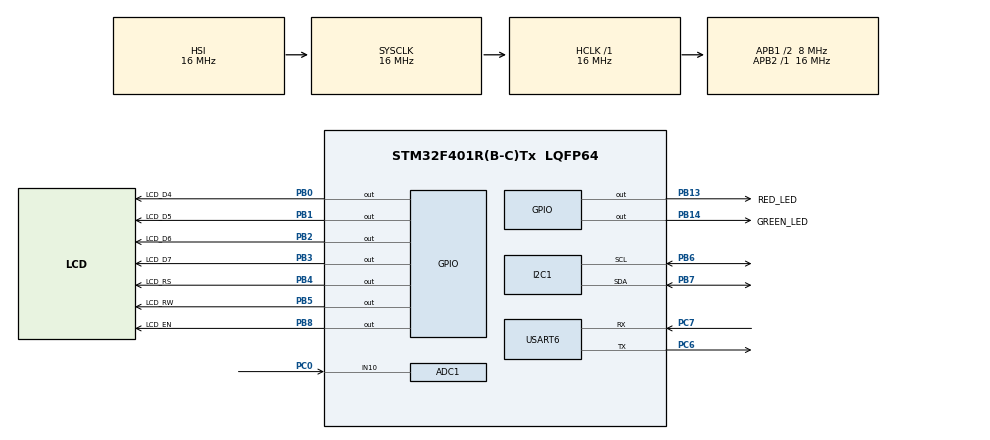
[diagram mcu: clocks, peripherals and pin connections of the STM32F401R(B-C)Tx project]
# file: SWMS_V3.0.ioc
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ADC1.Channel-0\#ChannelRegularConversion=ADC_CHANNEL_10
ADC1.InjNumberOfConversion=0
ADC1.NbrOfConversionFlag=1
ADC1.Rank-0\#ChannelRegularConversion=1
ADC1.SamplingTime-0\#ChannelRegularConversion=ADC_SAMPLETIME_480CYCLES
ADC1.master=1
FREERTOS.BinarySemaphores01=myBinarySem01,Dynamic,NULL,Depleted;myBinarySem02,Dynamic,NULL,Depleted
FREERTOS.Tasks01=task1,0,128,dispDT,Default,NULL,Dynamic,NULL,NULL;task2,0,128,readTemp,Default,NULL,Dynamic,NULL,NULL;task4,0,128,upTemp,Default,NULL,Dynamic,NULL,NULL;task3,0,128,checkIntStatus,Default,NULL,Dynamic,NULL,NULL
FREERTOS.configTICK_RATE_HZ=100
FREERTOS.configUSE_TRACE_FACILITY=1
Mcu.Family=STM32F4
Mcu.Name=STM32F401R(B-C)Tx
Mcu.Package=LQFP64
NVIC.PriorityGroup=NVIC_PRIORITYGROUP_4
NVIC.TIM2_IRQn=true\:15\:0\:false\:false\:true\:false\:false\:true\:true
NVIC.TimeBase=TIM2_IRQn
NVIC.TimeBaseIP=TIM2
PA13.Mode=Serial_Wire
PA13.Signal=SYS_JTMS-SWDIO
PA14.Mode=Serial_Wire
PA14.Signal=SYS_JTCK-SWCLK
PB0.GPIO_Label=LCD_D4
PB0.Signal=GPIO_Output
PB1.GPIO_Label=LCD_D5
PB1.Signal=GPIO_Output
PB13.GPIO_Label=RED_LED
PB13.PinState=GPIO_PIN_SET
PB13.Signal=GPIO_Output
PB14.GPIO_Label=GREEN_LED
PB14.PinState=GPIO_PIN_SET
PB14.Signal=GPIO_Output
PB2.GPIO_Label=LCD_D6
PB2.Signal=GPIO_Output
PB3.GPIO_Label=LCD_D7
PB3.Signal=GPIO_Output
PB4.GPIO_Label=LCD_RS
PB4.Signal=GPIO_Output
PB5.GPIO_Label=LCD_RW
PB5.Signal=GPIO_Output
PB6.Mode=I2C
PB6.Signal=I2C1_SCL
PB7.Mode=I2C
PB7.Signal=I2C1_SDA
PB8.GPIO_Label=LCD_EN
PB8.Signal=GPIO_Output
PC0.Signal=ADCx_IN10
PC14-OSC32_IN.Mode=LSE-External-Oscillator
PC14-OSC32_IN.Signal=RCC_OSC32_IN
PC15-OSC32_OUT.Mode=LSE-External-Oscillator
PC15-OSC32_OUT.Signal=RCC_OSC32_OUT
PC6.Mode=Asynchronous
PC6.Signal=USART6_TX
PC7.Mode=Asynchronous
PC7.Signal=USART6_RX
PH0\ -\ OSC_IN.Mode=HSE-External-Oscillator
PH0\ -\ OSC_IN.Signal=RCC_OSC_IN
PH1\ -\ OSC_OUT.Mode=HSE-External-Oscillator
PH1\ -\ OSC_OUT.Signal=RCC_OSC_OUT
ProjectManager.HeapSize=0x200
ProjectManager.StackSize=0x400
ProjectManager.TargetToolchain=STM32CubeIDE
RCC.48MHZClocksFreq_Value=48000000
RCC.AHBFreq_Value=16000000
RCC.APB1CLKDivider=RCC_HCLK_DIV2
RCC.APB1Freq_Value=8000000
RCC.APB1TimFreq_Value=16000000
RCC.APB2Freq_Value=16000000
RCC.APB2TimFreq_Value=16000000
RCC.CortexFreq_Value=16000000
RCC.HCLKFreq_Value=16000000
RCC.HSE_VALUE=25000000
RCC.HSI_VALUE=16000000
RCC.PLLM=8
RCC.PLLN=96
RCC.PLLP=RCC_PLLP_DIV4
RCC.SYSCLKFreq_VALUE=16000000
RCC.VCOOutputFreq_Value=192000000
SH.ADCx_IN10.0=ADC1_IN10,IN10
USART6.VirtualMode=VM_ASYNC
USART6.WordLength=WORDLENGTH_8B
VP_FREERTOS_VS_CMSIS_V1.Mode=CMSIS_V1
VP_RTC_VS_RTC_Activate.Mode=RTC_Enabled
VP_SYS_VS_tim2.Mode=TIM2
board=custom

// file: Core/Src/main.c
/* USER CODE BEGIN Header */
/**
  ******************************************************************************
  * @file           : main.c
  * @brief          : Main program body
  ******************************************************************************
  * @attention
  *
  * Copyright (c) 2024 STMicroelectronics.
  * All rights reserved.
  *
  * This software is licensed under terms that can be found in the LICENSE file
  * in the root directory of this software component.
  * If no LICENSE file comes with this software, it is provided AS-IS.
  *
  ******************************************************************************
  */
/* USER CODE END Header */
#include "main.h"
#include "cmsis_os.h"

ADC_HandleTypeDef hadc1;

I2C_HandleTypeDef hi2c1;

RTC_HandleTypeDef hrtc;

UART_HandleTypeDef huart6;

osThreadId task1Handle;
osThreadId task2Handle;
osThreadId task4Handle;
osThreadId task3Handle;
osSemaphoreId myBinarySem01Handle;
osSemaphoreId myBinarySem02Handle;
/* USER CODE BEGIN PV */
volatile uint32_t temp_value=0;
char dtValue[5];
char tempValue[2];
uint8_t convCpltFlag;
volatile int8_t wifi_status;
uint8_t Time_Date[7];
char EEPROM_WR_BUFF[20];
char EEPROM_RD_BUFF[20];
/* USER CODE END PV */

void SystemClock_Config(void);
static void MX_GPIO_Init(void);
static void MX_ADC1_Init(void);
static void MX_USART6_UART_Init(void);
static void MX_RTC_Init(void);
static void MX_I2C1_Init(void);
void dispDT(void const * argument);
void readTemp(void const * argument);
void upTemp(void const * argument);
void checkIntStatus(void const * argument);

int main(void)
{

  /* MCU Configuration--------------------------------------------------------*/

  /* Reset of all peripherals, Initializes the Flash interface and the Systick. */
  HAL_Init();

  /* Configure the system clock */
  SystemClock_Config();

  /* Initialize all configured peripherals */
  MX_GPIO_Init();
  MX_ADC1_Init();
  MX_USART6_UART_Init();
  MX_RTC_Init();
  MX_I2C1_Init();
  /* USER CODE BEGIN 2 */
  devInit();				//it contains all device initializations
  /* USER CODE END 2 */

  /* Create the semaphores(s) */
  /* definition and creation of myBinarySem01 */
  osSemaphoreDef(myBinarySem01);
  myBinarySem01Handle = osSemaphoreCreate(osSemaphore(myBinarySem01), 1);

  /* definition and creation of myBinarySem02 */
  osSemaphoreDef(myBinarySem02);
  myBinarySem02Handle = osSemaphoreCreate(osSemaphore(myBinarySem02), 1);

  /* Create the thread(s) */
  /* definition and creation of task1 */
  osThreadDef(task1, dispDT, osPriorityNormal, 0, 128);
  task1Handle = osThreadCreate(osThread(task1), NULL);

  /* definition and creation of task2 */
  osThreadDef(task2, readTemp, osPriorityNormal, 0, 128);
  task2Handle = osThreadCreate(osThread(task2), NULL);

  /* definition and creation of task4 */
  osThreadDef(task4, upTemp, osPriorityNormal, 0, 128);
  task4Handle = osThreadCreate(osThread(task4), NULL);

  /* definition and creation of task3 */
  osThreadDef(task3, checkIntStatus, osPriorityNormal, 0, 128);
  task3Handle = osThreadCreate(osThread(task3), NULL);

  /* Start scheduler */
  osKernelStart();

  /* We should never get here as control is now taken by the scheduler */

  /* Infinite loop */
  while (1)
  {

  }
}

void SystemClock_Config(void)
{
  RCC_OscInitTypeDef RCC_OscInitStruct = {0};
  RCC_ClkInitTypeDef RCC_ClkInitStruct = {0};

  /** Configure the main internal regulator output voltage
  */
  __HAL_RCC_PWR_CLK_ENABLE();
  __HAL_PWR_VOLTAGESCALING_CONFIG(PWR_REGULATOR_VOLTAGE_SCALE2);

  /** Initializes the RCC Oscillators according to the specified parameters
  * in the RCC_OscInitTypeDef structure.
  */
  RCC_OscInitStruct.OscillatorType = RCC_OSCILLATORTYPE_HSI|RCC_OSCILLATORTYPE_LSI;
  RCC_OscInitStruct.HSIState = RCC_HSI_ON;
  RCC_OscInitStruct.HSICalibrationValue = RCC_HSICALIBRATION_DEFAULT;
  RCC_OscInitStruct.LSIState = RCC_LSI_ON;
  RCC_OscInitStruct.PLL.PLLState = RCC_PLL_NONE;
  if (HAL_RCC_OscConfig(&RCC_OscInitStruct) != HAL_OK)
  {
    Error_Handler();
  }

  /** Initializes the CPU, AHB and APB buses clocks
  */
  RCC_ClkInitStruct.ClockType = RCC_CLOCKTYPE_HCLK|RCC_CLOCKTYPE_SYSCLK
                              |RCC_CLOCKTYPE_PCLK1|RCC_CLOCKTYPE_PCLK2;
  RCC_ClkInitStruct.SYSCLKSource = RCC_SYSCLKSOURCE_HSI;
  RCC_ClkInitStruct.AHBCLKDivider = RCC_SYSCLK_DIV1;
  RCC_ClkInitStruct.APB1CLKDivider = RCC_HCLK_DIV2;
  RCC_ClkInitStruct.APB2CLKDivider = RCC_HCLK_DIV1;

  if (HAL_RCC_ClockConfig(&RCC_ClkInitStruct, FLASH_LATENCY_0) != HAL_OK)
  {
    Error_Handler();
  }
}

static void MX_ADC1_Init(void)
{

  ADC_ChannelConfTypeDef sConfig = {0};

  /** Configure the global features of the ADC (Clock, Resolution, Data Alignment and number of conversion)
  */
  hadc1.Instance = ADC1;
  hadc1.Init.ClockPrescaler = ADC_CLOCK_SYNC_PCLK_DIV2;
  hadc1.Init.Resolution = ADC_RESOLUTION_12B;
  hadc1.Init.ScanConvMode = DISABLE;
  hadc1.Init.ContinuousConvMode = DISABLE;
  hadc1.Init.DiscontinuousConvMode = DISABLE;
  hadc1.Init.ExternalTrigConvEdge = ADC_EXTERNALTRIGCONVEDGE_NONE;
  hadc1.Init.ExternalTrigConv = ADC_SOFTWARE_START;
  hadc1.Init.DataAlign = ADC_DATAALIGN_RIGHT;
  hadc1.Init.NbrOfConversion = 1;
  hadc1.Init.DMAContinuousRequests = DISABLE;
  hadc1.Init.EOCSelection = ADC_EOC_SINGLE_CONV;
  if (HAL_ADC_Init(&hadc1) != HAL_OK)
  {
    Error_Handler();
  }

  /** Configure for the selected ADC regular channel its corresponding rank in the sequencer and its sample time.
  */
  sConfig.Channel = ADC_CHANNEL_10;
  sConfig.Rank = 1;
  sConfig.SamplingTime = ADC_SAMPLETIME_480CYCLES;
  if (HAL_ADC_ConfigChannel(&hadc1, &sConfig) != HAL_OK)
  {
    Error_Handler();
  }

}

static void MX_I2C1_Init(void)
{

  hi2c1.Instance = I2C1;
  hi2c1.Init.ClockSpeed = 100000;
  hi2c1.Init.DutyCycle = I2C_DUTYCYCLE_2;
  hi2c1.Init.OwnAddress1 = 0;
  hi2c1.Init.AddressingMode = I2C_ADDRESSINGMODE_7BIT;
  hi2c1.Init.DualAddressMode = I2C_DUALADDRESS_DISABLE;
  hi2c1.Init.OwnAddress2 = 0;
  hi2c1.Init.GeneralCallMode = I2C_GENERALCALL_DISABLE;
  hi2c1.Init.NoStretchMode = I2C_NOSTRETCH_DISABLE;
  if (HAL_I2C_Init(&hi2c1) != HAL_OK)
  {
    Error_Handler();
  }

}

static void MX_RTC_Init(void)
{

  /** Initialize RTC Only
  */
  hrtc.Instance = RTC;
  hrtc.Init.HourFormat = RTC_HOURFORMAT_24;
  hrtc.Init.AsynchPrediv = 127;
  hrtc.Init.SynchPrediv = 255;
  hrtc.Init.OutPut = RTC_OUTPUT_DISABLE;
  hrtc.Init.OutPutPolarity = RTC_OUTPUT_POLARITY_HIGH;
  hrtc.Init.OutPutType = RTC_OUTPUT_TYPE_OPENDRAIN;
  if (HAL_RTC_Init(&hrtc) != HAL_OK)
  {
    Error_Handler();
  }

}

static void MX_USART6_UART_Init(void)
{

  huart6.Instance = USART6;
  huart6.Init.BaudRate = 115200;
  huart6.Init.WordLength = UART_WORDLENGTH_8B;
  huart6.Init.StopBits = UART_STOPBITS_1;
  huart6.Init.Parity = UART_PARITY_NONE;
  huart6.Init.Mode = UART_MODE_TX_RX;
  huart6.Init.HwFlowCtl = UART_HWCONTROL_NONE;
  huart6.Init.OverSampling = UART_OVERSAMPLING_16;
  if (HAL_UART_Init(&huart6) != HAL_OK)
  {
    Error_Handler();
  }

}

static void MX_GPIO_Init(void)
{
  GPIO_InitTypeDef GPIO_InitStruct = {0};

  /* GPIO Ports Clock Enable */
  __HAL_RCC_GPIOC_CLK_ENABLE();
  __HAL_RCC_GPIOH_CLK_ENABLE();
  __HAL_RCC_GPIOB_CLK_ENABLE();
  __HAL_RCC_GPIOA_CLK_ENABLE();

  /*Configure GPIO pin Output Level */
  HAL_GPIO_WritePin(GPIOB, LCD_D4_Pin|LCD_D5_Pin|LCD_D6_Pin|LCD_D7_Pin
                          |LCD_RS_Pin|LCD_RW_Pin|LCD_EN_Pin, GPIO_PIN_RESET);

  /*Configure GPIO pin Output Level */
  HAL_GPIO_WritePin(GPIOB, RED_LED_Pin|GREEN_LED_Pin, GPIO_PIN_SET);

  /*Configure GPIO pins : LCD_D4_Pin LCD_D5_Pin LCD_D6_Pin RED_LED_Pin
                           GREEN_LED_Pin LCD_D7_Pin LCD_RS_Pin LCD_RW_Pin
                           LCD_EN_Pin */
  GPIO_InitStruct.Pin = LCD_D4_Pin|LCD_D5_Pin|LCD_D6_Pin|RED_LED_Pin
                          |GREEN_LED_Pin|LCD_D7_Pin|LCD_RS_Pin|LCD_RW_Pin
                          |LCD_EN_Pin;
  GPIO_InitStruct.Mode = GPIO_MODE_OUTPUT_PP;
  GPIO_InitStruct.Pull = GPIO_NOPULL;
  GPIO_InitStruct.Speed = GPIO_SPEED_FREQ_LOW;
  HAL_GPIO_Init(GPIOB, &GPIO_InitStruct);

}

void dispDT(void const * argument)
{
  /* USER CODE BEGIN 5 */
  /* Infinite loop */
  for(;;)
  {
	  /* PRINTING DATE & TIME*/
	HAL_I2C_Mem_Read(&hi2c1,(0x68<<1),0x00,1, (uint8_t *)&Time_Date[0],1,1000);
	HAL_I2C_Mem_Read(&hi2c1,(0x68<<1),0x01,1, (uint8_t *)&Time_Date[1],1,1000);
	HAL_I2C_Mem_Read(&hi2c1,(0x68<<1),0x02,1, (uint8_t *)&Time_Date[2],1,1000);
	HAL_I2C_Mem_Read(&hi2c1,(0x68<<1),0x03,1, (uint8_t *)&Time_Date[3],1,1000);
	HAL_I2C_Mem_Read(&hi2c1,(0x68<<1),0x04,1, (uint8_t *)&Time_Date[4],1,1000);
	HAL_I2C_Mem_Read(&hi2c1,(0x68<<1),0x05,1, (uint8_t *)&Time_Date[5],1,1000);
	HAL_I2C_Mem_Read(&hi2c1,(0x68<<1),0x06,1, (uint8_t *)&Time_Date[6],1,1000);
	KM_LCD_Write_Cmd(0x87);
	sprintf(dtValue, "%02d",Time_Date[0]-6*(Time_Date[0]>>4));	/* BCD to Decimal: var-6*(var>>4)*/
	KM_LCD_Write_Str(dtValue);
	KM_LCD_Write_Cmd(0X84);
	sprintf(dtValue, "%02d",Time_Date[1]-6*(Time_Date[1]>>4));
	KM_LCD_Write_Str(dtValue);
	KM_LCD_Write_Cmd(0x81);
	sprintf(dtValue, "%02d",Time_Date[2]-6*(Time_Date[2]>>4));
	KM_LCD_Write_Str(dtValue);
	KM_LCD_Write_Cmd(0xC1);
	sprintf(dtValue, "%02d",Time_Date[4]-6*(Time_Date[4]>>4));
	KM_LCD_Write_Str(dtValue);
	KM_LCD_Write_Cmd(0XC4);
	sprintf(dtValue, "%02d",Time_Date[5]-6*(Time_Date[5]>>4));
	KM_LCD_Write_Str(dtValue);
	KM_LCD_Write_Cmd(0XC7);
	sprintf(dtValue, "%02d",Time_Date[6]-6*(Time_Date[6]>>4));
	KM_LCD_Write_Str(dtValue);

	/* PRINTING TEMPERATURE VALUE*/
	if(convCpltFlag==SUCCESS)
	{
		KM_LCD_Write_Cmd(0x8C);
		KM_LCD_Write_Str(tempValue);
		convCpltFlag=RESET;
	}
	/* PRINTING WIFI STATUS*/
	if(wifi_status==STATUS_ERROR)
	{
		KM_LCD_Write_Cmd(0xCA);
		KM_LCD_Write_Str("ERROR");
	}
	else
	{
		KM_LCD_Write_Cmd(0xCA);
		KM_LCD_Write_Str("  OK ");
	}
	osDelay(250);
  }
  /* USER CODE END 5 */
}

void readTemp(void const * argument)
{
  /* USER CODE BEGIN readTemp */
  /* Infinite loop */
  for(;;)
  {

	HAL_ADC_Start(&hadc1);
	HAL_ADC_PollForConversion(&hadc1,HAL_MAX_DELAY);
	temp_value=HAL_ADC_GetValue(&hadc1);
	HAL_ADC_Stop(&hadc1);
	temp_value=(temp_value*3300)/40960;
	sprintf(tempValue,"%d",(int)temp_value);
	convCpltFlag=SUCCESS;									/* Conversion Complete flag*/
	osSemaphoreRelease(myBinarySem01Handle);			/* Semaphore release indicates temperature value is ready for uploading*/
	osDelay(5000);
  }
  /* USER CODE END readTemp */
}

void upTemp(void const * argument)
{
  /* USER CODE BEGIN upTemp */
  /* Infinite loop */
  for(;;)
  {
	  osSemaphoreWait(myBinarySem02Handle,osWaitForever);	/*Semaphore waiting to upload temperature */
	  wifi_transmit(temp_value);
	  wifi_status=RESET;
  }
  /* USER CODE END upTemp */
}

void checkIntStatus(void const * argument)
{
  /* USER CODE BEGIN checkIntStatus */
  /* Infinite loop */
	for(;;)
	{

		wifi_status=checkInt();
		//osDelay(1000);
	  if(wifi_status==SUCCESS)
	  {
		osSemaphoreWait(myBinarySem01Handle,osWaitForever);	/* Semaphore waiting for temperature value */
		osSemaphoreRelease(myBinarySem02Handle);			/* Semaphore release to upload temperature*/
	  }
	  else if(wifi_status==STATUS_ERROR)
	  {
		osSemaphoreWait(myBinarySem01Handle,osWaitForever);

		//Writing TO EEPROM
		sprintf(EEPROM_WR_BUFF, "%d%d%d%d", Time_Date[2]-6*(Time_Date[2]>>4),Time_Date[1]-6*(Time_Date[1]>>4),Time_Date[0]-6*(Time_Date[0]>>4),(int)temp_value);
		HAL_I2C_Mem_Write(&hi2c1,(0x50<<1),0,1,(uint8_t *)EEPROM_WR_BUFF,15,1000);

		//Reading From EEPROM (For debugging purpose)
/*
		osDelay(500);
		HAL_I2C_Mem_Read(&hi2c1,(0x50<<1),0,1,(uint8_t *)EEPROM_RD_BUFF,15,2000);
*/
	  }
	}
  /* USER CODE END checkIntStatus */
}

void HAL_TIM_PeriodElapsedCallback(TIM_HandleTypeDef *htim)
{
  if (htim->Instance == TIM2) {
    HAL_IncTick();
  }
}

void Error_Handler(void)
{
  __disable_irq();
  while (1)
  {
  }
}
